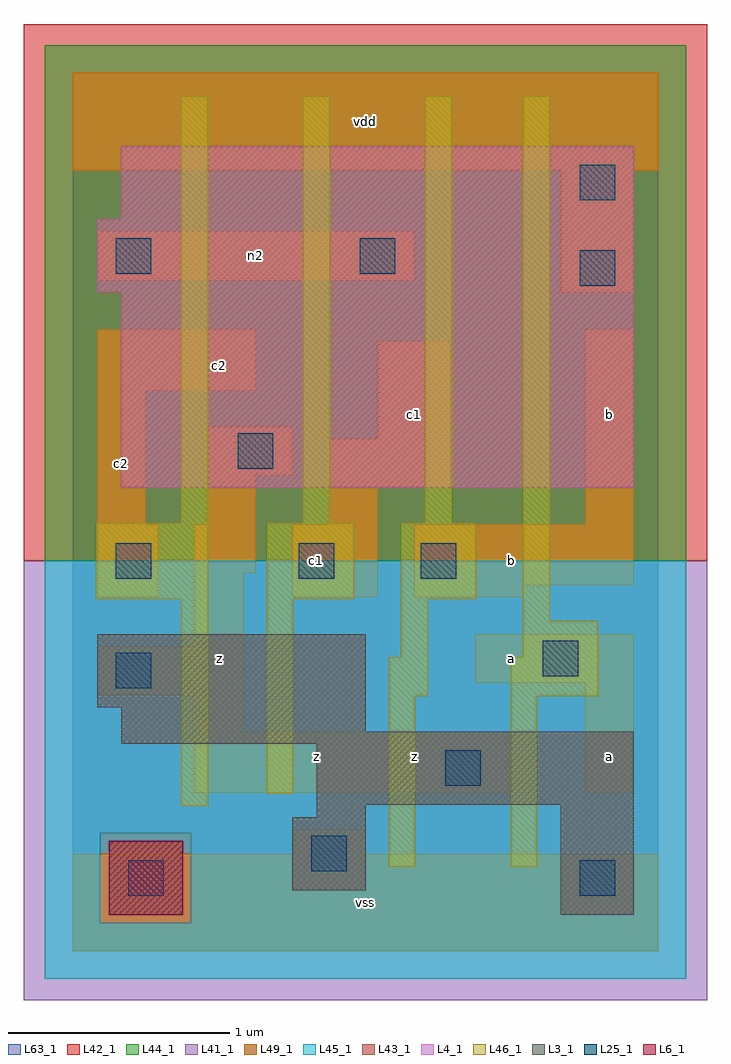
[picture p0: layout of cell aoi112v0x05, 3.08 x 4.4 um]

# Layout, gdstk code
import gdstk
lib = gdstk.Library(unit=1e-6, precision=1e-09)
def R(c, l, rs):  # rectangles x0, y0, x1, y1
    for r in rs: c.add(gdstk.rectangle(r[:2], r[2:], *l))
def A(c, l, x, y, w, h, nx, ny, dx, dy):  # array of equal rectangles
    R(c, l, [(x+i*dx, y+j*dy, x+i*dx+w, y+j*dy+h) for i in range(nx) for j in range(ny)])
L3_1 = (3, 1)
L4_1 = (4, 1)
L6_1 = (6, 1)
L25_1 = (25, 1)
L41_1 = (41, 1)
L42_1 = (42, 1)
L43_1 = (43, 1)
L44_1 = (44, 1)
L45_1 = (45, 1)
L46_1 = (46, 1)
L49_1 = (49, 1)
L63_1 = (63, 1)

aoi112v0x05 = lib.new_cell('aoi112v0x05')
R(aoi112v0x05, L3_1, [(2.2,0.165,2.53,0.66), (0.99,0.275,1.32,0.605), (1.1,0.605,1.32,0.66), (1.1,0.66,2.53,0.935), (0.22,0.935,2.53,0.99), (0.22,0.99,1.32,1.1), (0.11,1.1,1.32,1.43)])
R(aoi112v0x05, L4_1, [(0.22,2.09,2.53,2.97), (0.11,2.97,2.53,3.3), (0.22,3.3,2.53,3.63)])
R(aoi112v0x05, L6_1, [(0.165,0.165,0.495,0.495)])
R(aoi112v0x05, L25_1, [(0.25,0.25,0.41,0.41), (2.285,0.25,2.445,0.41), (1.075,0.36,1.235,0.52), (1.68,0.745,1.84,0.905), (0.195,1.185,0.355,1.345), (2.12,1.24,2.28,1.4), (0.195,1.68,0.355,1.84), (1.02,1.68,1.18,1.84), (1.57,1.68,1.73,1.84), (0.745,2.175,0.905,2.335), (2.285,3,2.445,3.16), (0.195,3.055,0.355,3.215), (1.295,3.055,1.455,3.215), (2.285,3.385,2.445,3.545)])
R(aoi112v0x05, L41_1, [(-0.22,-0.22,2.86,1.76)])
R(aoi112v0x05, L42_1, [(-0.22,1.76,2.86,4.18)])
R(aoi112v0x05, L43_1, [(0.165,0.165,0.495,0.495), (2.2,0.165,2.53,0.66), (0.99,0.275,1.32,0.605), (1.1,0.605,1.32,0.66), (1.1,0.66,2.53,0.935), (0.22,0.935,2.53,0.99), (0.22,0.99,1.32,1.1), (0.11,1.1,1.32,1.43), (0.22,2.09,2.53,2.97), (0.11,2.97,2.53,3.3), (0.22,3.3,2.53,3.63)])
R(aoi112v0x05, L44_1, [(0.125,0.125,0.535,0.535), (-0.125,1.76,2.765,4.085)])
R(aoi112v0x05, L45_1, [(-0.125,-0.125,2.765,0.125), (-0.125,0.125,0.125,0.535), (0.535,0.125,2.765,0.535), (-0.125,0.535,2.765,1.76)])
A(aoi112v0x05, L46_1, 0.49, 1.93, 0.12, 1.925, 3, 1, 0.55, 0)
R(aoi112v0x05, L46_1, [(1.425,0.38,1.545,1.15), (1.975,0.38,2.095,1.15), (0.49,0.655,0.61,1.59), (0.875,0.71,0.995,1.59), (1.425,1.15,1.6,1.325), (1.975,1.15,2.37,1.325), (1.48,1.325,1.6,1.59), (2.03,1.325,2.37,1.49), (2.03,1.49,2.15,3.855), (0.105,1.59,0.61,1.93), (0.875,1.59,1.27,1.93), (1.48,1.59,1.82,1.93)])
R(aoi112v0x05, L49_1, [(0,0,2.64,0.44), (0.99,0.44,1.32,0.55), (0.55,0.715,1.98,0.99), (2.31,0.715,2.53,1.21), (0.55,0.99,0.77,1.155), (0.11,1.155,0.77,1.375), (1.815,1.21,2.53,1.43), (0.55,1.375,0.77,1.705), (0.11,1.595,0.385,1.925), (0.99,1.595,1.375,1.925), (1.54,1.595,2.035,1.65), (1.54,1.65,2.53,1.925), (0.55,1.705,0.825,1.925), (0.11,1.925,0.33,2.53), (0.605,1.925,0.825,2.145), (1.155,1.925,1.375,2.09), (2.31,1.925,2.53,2.805), (1.155,2.09,1.705,2.31), (0.605,2.145,0.99,2.365), (1.375,2.31,1.705,2.75), (0.11,2.53,0.825,2.805), (2.2,2.97,2.53,3.52), (0.11,3.025,1.54,3.245), (0,3.52,2.64,3.96)])
R(aoi112v0x05, L63_1, [(0,0,2.64,3.96)])
aoi112v0x05.add(gdstk.Label('c2', (0.22,2.2), layer=49, texttype=1))
aoi112v0x05.add(gdstk.Label('z', (1.1,0.88), layer=49, texttype=1))
aoi112v0x05.add(gdstk.Label('z', (0.66,1.32), layer=49, texttype=1))
aoi112v0x05.add(gdstk.Label('c1', (1.1,1.76), layer=49, texttype=1))
aoi112v0x05.add(gdstk.Label('c2', (0.66,2.64), layer=49, texttype=1))
aoi112v0x05.add(gdstk.Label('vss', (1.32,0.22), layer=49, texttype=1))
aoi112v0x05.add(gdstk.Label('z', (1.54,0.88), layer=49, texttype=1))
aoi112v0x05.add(gdstk.Label('c1', (1.54,2.42), layer=49, texttype=1))
aoi112v0x05.add(gdstk.Label('n2', (0.825,3.135), layer=49, texttype=1))
aoi112v0x05.add(gdstk.Label('vdd', (1.32,3.74), layer=49, texttype=1))
aoi112v0x05.add(gdstk.Label('a', (2.42,0.88), layer=49, texttype=1))
aoi112v0x05.add(gdstk.Label('b', (1.98,1.76), layer=49, texttype=1))
aoi112v0x05.add(gdstk.Label('a', (1.98,1.32), layer=49, texttype=1))
aoi112v0x05.add(gdstk.Label('b', (2.42,2.42), layer=49, texttype=1))

lib.write_gds('aoi112v0x05.gds')
